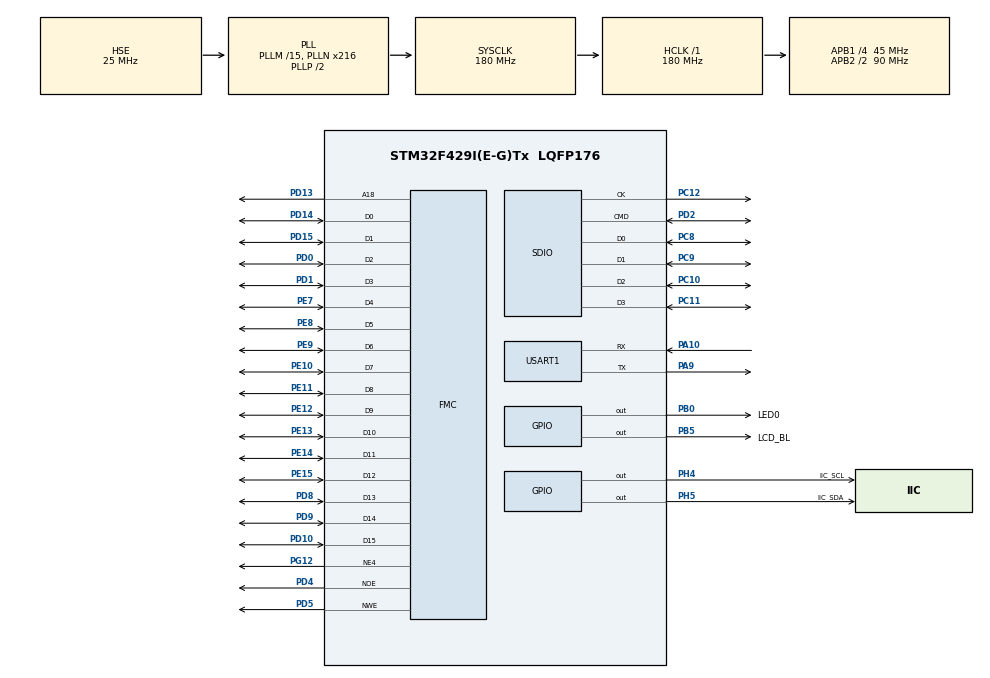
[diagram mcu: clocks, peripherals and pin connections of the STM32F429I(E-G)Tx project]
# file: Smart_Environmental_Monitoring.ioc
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FREERTOS.Tasks01=defaultTask,24,128,StartDefaultTask,Default,NULL,Dynamic,NULL,NULL
FREERTOS.configTOTAL_HEAP_SIZE=30720
Mcu.Family=STM32F4
Mcu.Name=STM32F429I(E-G)Tx
Mcu.Package=LQFP176
NVIC.PriorityGroup=NVIC_PRIORITYGROUP_4
NVIC.TIM6_DAC_IRQn=true\:15\:0\:false\:false\:true\:false\:false\:true\:true
NVIC.TimeBase=TIM6_DAC_IRQn
NVIC.TimeBaseIP=TIM6
PA10.Mode=Asynchronous
PA10.Signal=USART1_RX
PA13.Mode=Serial_Wire
PA13.Signal=SYS_JTMS-SWDIO
PA14.Mode=Serial_Wire
PA14.Signal=SYS_JTCK-SWCLK
PA9.Mode=Asynchronous
PA9.Signal=USART1_TX
PB0.GPIO_Label=LED0
PB0.GPIO_Speed=GPIO_SPEED_FREQ_LOW
PB0.PinState=GPIO_PIN_SET
PB0.Signal=GPIO_Output
PB5.GPIO_Label=LCD_BL
PB5.Signal=GPIO_Output
PC10.Mode=SD_4_bits_Wide_bus
PC10.Signal=SDIO_D2
PC11.Mode=SD_4_bits_Wide_bus
PC11.Signal=SDIO_D3
PC12.Mode=SD_4_bits_Wide_bus
PC12.Signal=SDIO_CK
PC8.Mode=SD_4_bits_Wide_bus
PC8.Signal=SDIO_D0
PC9.Mode=SD_4_bits_Wide_bus
PC9.Signal=SDIO_D1
PD0.Signal=FMC_D2_DA2
PD1.Signal=FMC_D3_DA3
PD10.Signal=FMC_D15_DA15
PD13.Signal=FMC_A18
PD14.Signal=FMC_D0_DA0
PD15.Signal=FMC_D1_DA1
PD2.Mode=SD_4_bits_Wide_bus
PD2.Signal=SDIO_CMD
PD4.Signal=FMC_NOE
PD5.Signal=FMC_NWE
PD8.Signal=FMC_D13_DA13
PD9.Signal=FMC_D14_DA14
PE10.Signal=FMC_D7_DA7
PE11.Signal=FMC_D8_DA8
PE12.Signal=FMC_D9_DA9
PE13.Signal=FMC_D10_DA10
PE14.Signal=FMC_D11_DA11
PE15.Signal=FMC_D12_DA12
PE7.Signal=FMC_D4_DA4
PE8.Signal=FMC_D5_DA5
PE9.Signal=FMC_D6_DA6
PG12.Mode=NorPsramChipSelect4_1
PG12.Signal=FMC_NE4
PH0/OSC_IN.Mode=HSE-External-Oscillator
PH0/OSC_IN.Signal=RCC_OSC_IN
PH1/OSC_OUT.Mode=HSE-External-Oscillator
PH1/OSC_OUT.Signal=RCC_OSC_OUT
PH4.GPIO_Label=IIC_SCL
PH4.GPIO_ModeDefaultOutputPP=GPIO_MODE_OUTPUT_OD
PH4.GPIO_PuPd=GPIO_PULLUP
PH4.GPIO_Speed=GPIO_SPEED_FREQ_VERY_HIGH
PH4.PinState=GPIO_PIN_SET
PH4.Signal=GPIO_Output
PH5.GPIO_Label=IIC_SDA
PH5.GPIO_ModeDefaultOutputPP=GPIO_MODE_OUTPUT_OD
PH5.GPIO_PuPd=GPIO_PULLUP
PH5.GPIO_Speed=GPIO_SPEED_FREQ_VERY_HIGH
PH5.PinState=GPIO_PIN_SET
PH5.Signal=GPIO_Output
ProjectManager.HeapSize=0x200
ProjectManager.StackSize=0x400
ProjectManager.TargetToolchain=CMake
RCC.48MHZClocksFreq_Value=45000000
RCC.AHBFreq_Value=180000000
RCC.APB1CLKDivider=RCC_HCLK_DIV4
RCC.APB1Freq_Value=45000000
RCC.APB1TimFreq_Value=90000000
RCC.APB2CLKDivider=RCC_HCLK_DIV2
RCC.APB2Freq_Value=90000000
RCC.APB2TimFreq_Value=180000000
RCC.CortexFreq_Value=180000000
RCC.HCLKFreq_Value=180000000
RCC.HSE_VALUE=25000000
RCC.HSI_VALUE=16000000
RCC.LSE_VALUE=32768
RCC.PLLM=15
RCC.PLLN=216
RCC.PLLQ=8
RCC.PLLSourceVirtual=RCC_PLLSOURCE_HSE
RCC.SYSCLKFreq_VALUE=180000000
RCC.SYSCLKSource=RCC_SYSCLKSOURCE_PLLCLK
RCC.VCOOutputFreq_Value=360000000
SDIO.ClockDiv=4
SH.FMC_A18.0=FMC_A18,A18_1
SH.FMC_D0_DA0.0=FMC_D0,16b-d1
SH.FMC_D10_DA10.0=FMC_D10,16b-d1
SH.FMC_D11_DA11.0=FMC_D11,16b-d1
SH.FMC_D12_DA12.0=FMC_D12,16b-d1
SH.FMC_D13_DA13.0=FMC_D13,16b-d1
SH.FMC_D14_DA14.0=FMC_D14,16b-d1
SH.FMC_D15_DA15.0=FMC_D15,16b-d1
SH.FMC_D1_DA1.0=FMC_D1,16b-d1
SH.FMC_D2_DA2.0=FMC_D2,16b-d1
SH.FMC_D3_DA3.0=FMC_D3,16b-d1
SH.FMC_D4_DA4.0=FMC_D4,16b-d1
SH.FMC_D5_DA5.0=FMC_D5,16b-d1
SH.FMC_D6_DA6.0=FMC_D6,16b-d1
SH.FMC_D7_DA7.0=FMC_D7,16b-d1
SH.FMC_D8_DA8.0=FMC_D8,16b-d1
SH.FMC_D9_DA9.0=FMC_D9,16b-d1
SH.FMC_NOE.0=FMC_NOE,Lcd1
SH.FMC_NWE.0=FMC_NWE,Lcd1
USART1.VirtualMode=VM_ASYNC
VP_FREERTOS_VS_CMSIS_V2.Mode=CMSIS_V2
VP_SYS_VS_tim6.Mode=TIM6
board=custom

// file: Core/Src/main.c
/* USER CODE BEGIN Header */
/**
  ******************************************************************************
  * @file           : main.c
  * @brief          : Main program body
  ******************************************************************************
  * @attention
  *
  * <h2><center>&copy; Copyright (c) 2026 STMicroelectronics.
  * All rights reserved.</center></h2>
  *
  * This software component is licensed by ST under Ultimate Liberty license
  * SLA0044, the "License"; You may not use this file except in compliance with
  * the License. You may obtain a copy of the License at:
  *                             www.st.com/SLA0044
  *
  ******************************************************************************
  */
/* USER CODE END Header */
#include "main.h"
#include "cmsis_os.h"
#include "usart.h"
#include "gpio.h"
#include "fmc.h"

/* USER CODE BEGIN Includes */
#include "my_lcd.h"
#include "myiic.h"
#include <stdio.h>
#include "aht20.h"
#include "ff.h"
#include "sdio.h"
/* USER CODE END Includes */

void SystemClock_Config(void);
void MX_FREERTOS_Init(void);

/* USER CODE BEGIN 0 */
int __io_putchar(int ch)
{
    HAL_UART_Transmit(&huart1, (uint8_t *)&ch, 1, 100);
    return ch;
}
/* USER CODE END 0 */

int main(void)
{

  /* MCU Configuration--------------------------------------------------------*/

  /* Reset of all peripherals, Initializes the Flash interface and the Systick. */
  HAL_Init();

  /* Configure the system clock */
  SystemClock_Config();

  /* Initialize all configured peripherals */
  MX_GPIO_Init();
  MX_FMC_Init();
  MX_USART1_UART_Init();
  MX_SDIO_SD_Init();

  /* USER CODE BEGIN 2 */
  //lcd_init();                                              /* 初始化屏幕 */
  iic_scan();
  HAL_Delay(500);
  aht20_init();
  FATFS fs;
  FRESULT fr;
  fr = f_mount(&fs, "0:", 1);
  /* USER CODE END 2 */

  /* Init scheduler */
  osKernelInitialize();  /* Call init function for freertos objects (in cmsis_os2.c) */
  MX_FREERTOS_Init();

  /* Start scheduler */
  osKernelStart();

  /* We should never get here as control is now taken by the scheduler */

  /* Infinite loop */
  while (1)
  {

  }
}

void SystemClock_Config(void)
{
  RCC_OscInitTypeDef RCC_OscInitStruct = {0};
  RCC_ClkInitTypeDef RCC_ClkInitStruct = {0};

  /** Configure the main internal regulator output voltage
  */
  __HAL_RCC_PWR_CLK_ENABLE();
  __HAL_PWR_VOLTAGESCALING_CONFIG(PWR_REGULATOR_VOLTAGE_SCALE1);

  /** Initializes the RCC Oscillators according to the specified parameters
  * in the RCC_OscInitTypeDef structure.
  */
  RCC_OscInitStruct.OscillatorType = RCC_OSCILLATORTYPE_HSE;
  RCC_OscInitStruct.HSEState = RCC_HSE_ON;
  RCC_OscInitStruct.PLL.PLLState = RCC_PLL_ON;
  RCC_OscInitStruct.PLL.PLLSource = RCC_PLLSOURCE_HSE;
  RCC_OscInitStruct.PLL.PLLM = 15;
  RCC_OscInitStruct.PLL.PLLN = 216;
  RCC_OscInitStruct.PLL.PLLP = RCC_PLLP_DIV2;
  RCC_OscInitStruct.PLL.PLLQ = 8;
  if (HAL_RCC_OscConfig(&RCC_OscInitStruct) != HAL_OK)
  {
    Error_Handler();
  }

  /** Activate the Over-Drive mode
  */
  if (HAL_PWREx_EnableOverDrive() != HAL_OK)
  {
    Error_Handler();
  }

  /** Initializes the CPU, AHB and APB buses clocks
  */
  RCC_ClkInitStruct.ClockType = RCC_CLOCKTYPE_HCLK|RCC_CLOCKTYPE_SYSCLK
                              |RCC_CLOCKTYPE_PCLK1|RCC_CLOCKTYPE_PCLK2;
  RCC_ClkInitStruct.SYSCLKSource = RCC_SYSCLKSOURCE_PLLCLK;
  RCC_ClkInitStruct.AHBCLKDivider = RCC_SYSCLK_DIV1;
  RCC_ClkInitStruct.APB1CLKDivider = RCC_HCLK_DIV4;
  RCC_ClkInitStruct.APB2CLKDivider = RCC_HCLK_DIV2;

  if (HAL_RCC_ClockConfig(&RCC_ClkInitStruct, FLASH_LATENCY_5) != HAL_OK)
  {
    Error_Handler();
  }
}

void HAL_TIM_PeriodElapsedCallback(TIM_HandleTypeDef *htim)
{
  if (htim->Instance == TIM6)
  {
    HAL_IncTick();
  }
}

void Error_Handler(void)
{
  __disable_irq();
  while (1)
  {
  }
}

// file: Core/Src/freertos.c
/* USER CODE BEGIN Header */
/**
 ******************************************************************************
 * File Name          : freertos.c
 * Description        : Code for freertos applications
 ******************************************************************************
 * @attention
 *
 * <h2><center>&copy; Copyright (c) 2026 STMicroelectronics.
 * All rights reserved.</center></h2>
 *
 * This software component is licensed by ST under Ultimate Liberty license
 * SLA0044, the "License"; You may not use this file except in compliance with
 * the License. You may obtain a copy of the License at:
 *                             www.st.com/SLA0044
 *
 ******************************************************************************
 */
/* USER CODE END Header */

#include "FreeRTOS.h"
#include "task.h"
#include "main.h"
#include "cmsis_os.h"

/* USER CODE BEGIN Includes */
#include "ap3216.h"
#include "aht20.h"
#include "my_lcd.h"
#include "myiic.h"
#include <stdint.h>
#include <stdio.h>

/* USER CODE END Includes */

/* USER CODE BEGIN Variables */
/* 传感器数据结构 */
typedef struct {
  uint16_t ir;
  uint16_t als;
  uint16_t ps;
  float    temperature;   /* AHT20 温度 */
  float    humidity;      /* AHT20 湿度 */
} env_data_t;

env_data_t g_env_data = {0};

/* 消息队列句柄 */
osMessageQueueId_t sensorQueueHandle;
/* USER CODE END Variables */
/* Definitions for defaultTask */
osThreadId_t defaultTaskHandle;
const osThreadAttr_t defaultTask_attributes = {
  .name = "defaultTask",
  .stack_size = 128 * 4,
  .priority = (osPriority_t) osPriorityNormal,
};

/* USER CODE BEGIN FunctionPrototypes */
void StartLedTask(void *argument);
void StartLcdTask(void *argument);
void StartAP3216SensorTask(void *argument);
void StartAHT20SensorTask(void *argument);
/* USER CODE END FunctionPrototypes */

void StartDefaultTask(void *argument);

void MX_FREERTOS_Init(void); /* (MISRA C 2004 rule 8.1) */

void MX_FREERTOS_Init(void) {

  /* USER CODE BEGIN RTOS_QUEUES */
  /* add queues, ... */
  sensorQueueHandle = osMessageQueueNew(8, sizeof(uint8_t), NULL);
  /* USER CODE END RTOS_QUEUES */

  /* Create the thread(s) */
  /* creation of defaultTask */
  defaultTaskHandle = osThreadNew(StartDefaultTask, NULL, &defaultTask_attributes);

  /* USER CODE BEGIN RTOS_THREADS */
  /* 创建 LED 任务 */
//   osThreadNew(StartLedTask, NULL,
//               &(osThreadAttr_t){.name = "LED_Task",
//                                 .stack_size = 128 * 4,
//                                 .priority = osPriorityNormal});
  /* 创建 LCD 任务 */
//   osThreadNew(StartLcdTask, NULL,
//               &(osThreadAttr_t){.name = "LCD_Task",
//                                 .stack_size = 512 * 4,
//                                 .priority = osPriorityNormal});
//   /* 创建 AP3216 传感器任务 */
//   osThreadNew(StartAP3216SensorTask, NULL,
//               &(osThreadAttr_t){.name = "Sensor_Task",
//                                 .stack_size = 256 * 4,
//                                 .priority = osPriorityNormal});
  /* AHT20 任务 */
//   osThreadNew(StartAHT20SensorTask, NULL,
//               &(osThreadAttr_t){.name = "AHT20_Task",
//                                 .stack_size = 256 * 4,
//                                 .priority = osPriorityNormal});
  /* USER CODE END RTOS_THREADS */

}

void StartDefaultTask(void *argument)
{
  for (;;) {
    osDelay(1);
  }
}

/* USER CODE BEGIN Application */
/* LED 任务：1Hz 闪烁 */
void StartLedTask(void *argument) {
  for (;;) {
    HAL_GPIO_TogglePin(LED0_GPIO_Port, LED0_Pin);
    osDelay(500);
  }
}

/* LCD 任务：1Hz 循环变色 */
void StartLcdTask(void *argument)
{
    uint16_t color = 0;
    for(;;)
    {
        lcd_fill_area(0, 0, 239, 319, color);
        color += 0x1111;
        if(color > 0xFFFF) color = 0;
        osDelay(500);
    }
}

void StartAP3216SensorTask(void *argument)
{
    uint16_t tmp1, tmp2, tmp3;
    uint8_t  notify = 1;

    if (ap3216_init() != 0) printf("AP3216 init failed\r\n");
    else                    printf("AP3216 init OK\r\n");

    for(;;)
    {
        /* 第一次读丢弃 */
        ap3216_read_data(&tmp1, &tmp2, &tmp3);
        osDelay(50);

        /* 第二次读有效，写入全局结构体 */
        if (ap3216_read_data(&g_env_data.ir, &g_env_data.als, &g_env_data.ps) == 0)
        {
            printf("AP3216: IR=%u ALS=%u PS=%u\r\n",
                   g_env_data.ir, g_env_data.als, g_env_data.ps);
            osMessageQueuePut(sensorQueueHandle, &notify, 0, 0);
        }

        osDelay(1000);
    }
}

void StartAHT20SensorTask(void *argument)
{
    float temp, humi;
    uint8_t notify = 1;

    if (aht20_init() != 0) printf("AHT20 init failed\r\n");
    else                   printf("AHT20 init OK\r\n");

    for(;;)
    {
        if (aht20_read_data(&temp, &humi) == 0)
        {
            g_env_data.temperature = temp;
            g_env_data.humidity    = humi;

            printf("AHT20: T=%.1f C  H=%.1f %%\r\n", temp, humi);

            /* 通知 LCD 任务刷新 */
            osMessageQueuePut(sensorQueueHandle, &notify, 0, 0);
        }
        else
        {
            printf("AHT20 read failed\r\n");
        }

        osDelay(1000);
    }
}
/* USER CODE END Application */
